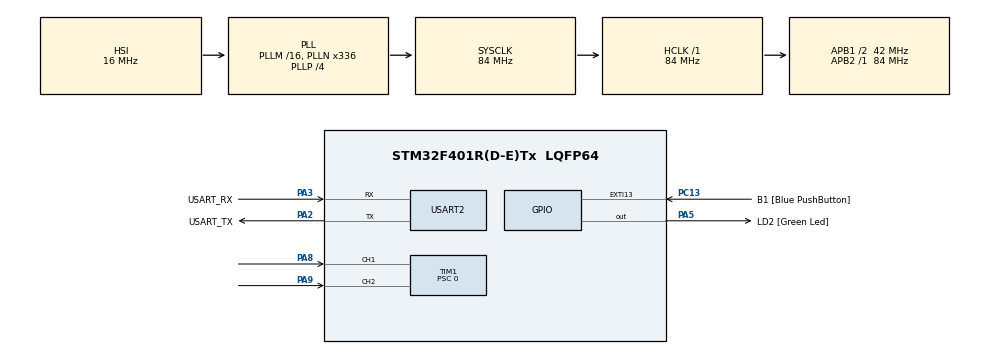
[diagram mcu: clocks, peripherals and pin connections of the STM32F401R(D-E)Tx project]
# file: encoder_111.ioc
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Mcu.Family=STM32F4
Mcu.Name=STM32F401R(D-E)Tx
Mcu.Package=LQFP64
NVIC.PriorityGroup=NVIC_PRIORITYGROUP_0
NVIC.TIM1_BRK_TIM9_IRQn=true\:0\:0\:false\:false\:true\:true\:true
NVIC.TIM1_CC_IRQn=true\:0\:0\:false\:false\:true\:true\:true
NVIC.TIM1_TRG_COM_TIM11_IRQn=true\:0\:0\:false\:false\:true\:true\:true
NVIC.TIM1_UP_TIM10_IRQn=true\:0\:0\:false\:false\:true\:true\:true
PA13.GPIO_Label=TMS
PA13.Mode=Serial_Wire
PA13.Signal=SYS_JTMS-SWDIO
PA14.GPIO_Label=TCK
PA14.Mode=Serial_Wire
PA14.Signal=SYS_JTCK-SWCLK
PA2.GPIO_Label=USART_TX
PA2.GPIO_Mode=GPIO_MODE_AF_PP
PA2.GPIO_PuPd=GPIO_NOPULL
PA2.GPIO_Speed=GPIO_SPEED_FREQ_LOW
PA2.Mode=Asynchronous
PA2.Signal=USART2_TX
PA3.GPIO_Label=USART_RX
PA3.GPIO_Mode=GPIO_MODE_AF_PP
PA3.GPIO_PuPd=GPIO_NOPULL
PA3.GPIO_Speed=GPIO_SPEED_FREQ_LOW
PA3.Mode=Asynchronous
PA3.Signal=USART2_RX
PA5.GPIO_Label=LD2 [Green Led]
PA5.GPIO_Mode=GPIO_MODE_OUTPUT_PP
PA5.GPIO_PuPd=GPIO_NOPULL
PA5.GPIO_Speed=GPIO_SPEED_FREQ_LOW
PA5.Signal=GPIO_Output
PA8.GPIO_PuPd=GPIO_PULLUP
PA8.Signal=S_TIM1_CH1
PA9.GPIO_PuPd=GPIO_PULLUP
PA9.Signal=S_TIM1_CH2
PB3.GPIO_Label=SWO
PB3.Signal=SYS_JTDO-SWO
PC13-ANTI_TAMP.GPIO_Label=B1 [Blue PushButton]
PC13-ANTI_TAMP.GPIO_ModeDefaultEXTI=GPIO_MODE_IT_FALLING
PC13-ANTI_TAMP.GPIO_PuPd=GPIO_NOPULL
PC13-ANTI_TAMP.Signal=GPXTI13
PC14-OSC32_IN.Mode=LSE-External-Oscillator
PC14-OSC32_IN.Signal=RCC_OSC32_IN
PC15-OSC32_OUT.Mode=LSE-External-Oscillator
PC15-OSC32_OUT.Signal=RCC_OSC32_OUT
PH0\ -\ OSC_IN.Mode=HSE-External-Clock-Source
PH0\ -\ OSC_IN.Signal=RCC_OSC_IN
PH1\ -\ OSC_OUT.Mode=HSE-External-Clock-Source
PH1\ -\ OSC_OUT.Signal=RCC_OSC_OUT
ProjectManager.HeapSize=0x200
ProjectManager.StackSize=0x400
ProjectManager.TargetToolchain=STM32CubeIDE
RCC.48MHZClocksFreq_Value=48000000
RCC.AHBFreq_Value=84000000
RCC.APB1CLKDivider=RCC_HCLK_DIV2
RCC.APB1Freq_Value=42000000
RCC.APB1TimFreq_Value=84000000
RCC.APB2Freq_Value=84000000
RCC.APB2TimFreq_Value=84000000
RCC.CortexFreq_Value=84000000
RCC.HCLKFreq_Value=84000000
RCC.HSE_VALUE=8000000
RCC.HSI_VALUE=16000000
RCC.PLLN=336
RCC.PLLP=RCC_PLLP_DIV4
RCC.PLLQ=7
RCC.SYSCLKFreq_VALUE=84000000
RCC.SYSCLKSource=RCC_SYSCLKSOURCE_PLLCLK
RCC.VCOOutputFreq_Value=336000000
SH.S_TIM1_CH1.0=TIM1_CH1,Encoder_Interface
SH.S_TIM1_CH2.0=TIM1_CH2,Encoder_Interface
TIM1.AutoReloadPreload=TIM_AUTORELOAD_PRELOAD_ENABLE
TIM1.EncoderMode=TIM_ENCODERMODE_TI12
TIM1.IC1Filter=5
TIM1.IC1Prescaler=TIM_ICPSC_DIV1
TIM1.IC2Prescaler=TIM_ICPSC_DIV4
TIM1.Period=16
TIM1.Prescaler=0
USART2.VirtualMode=VM_ASYNC
board=NUCLEO-F401RE

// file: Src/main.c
/* USER CODE BEGIN Header */
/**
  ******************************************************************************
  * @file           : main.c
  * @brief          : Main program body
  ******************************************************************************
  * @attention
  *
  * <h2><center>&copy; Copyright (c) 2019 STMicroelectronics.
  * All rights reserved.</center></h2>
  *
  * This software component is licensed by ST under BSD 3-Clause license,
  * the "License"; You may not use this file except in compliance with the
  * License. You may obtain a copy of the License at:
  *                        opensource.org/licenses/BSD-3-Clause
  *
  ******************************************************************************
  */
/* USER CODE END Header */

#include "main.h"
#define PPR (1000-1)
/* USER CODE BEGIN Includes */
#include "math.h"
/* USER CODE END Includes */

TIM_HandleTypeDef htim1;

UART_HandleTypeDef huart2;

uint8_t outC = 0;
void SystemClock_Config(void);
static void MX_GPIO_Init(void);
static void MX_USART2_UART_Init(void);
static void MX_TIM1_Init(void);

/* USER CODE BEGIN 0 */
void USART_SendText2(volatile char * s)
{
	uint8_t counter = 0;
	uint8_t value  = 0;
  while(*s != '\0'){
	  value = *s;
	  counter++;
	 HAL_UART_Transmit(&huart2, (char *) s, 1, 100);
	 *(s++);
  }
  //HAL_UART_Transmit(&huart2, "\n", 1, 1000);
  outC = counter;
}
void USART_SendText(volatile char * s)
{
  while(*s){
    // wait until data register is empty
    HAL_UART_Transmit(&huart2, (char *) s, 1, 100);
    *(s++);
  }
  //HAL_UART_Transmit(&huart2, "\n", 1, 1000);
}
void USART_SendNumber(uint32_t x){
/**
	uint8_t y;
	uint8_t counter = 0;

	while(x > 0){
		y = (x % 10) + 48;
		x = x / 10;
		counter++;
		HAL_UART_Transmit(&huart2, &y, 1, 100);
	}
	USART_SendText2("\r\n");
**/
	uint8_t y[10];
	uint8_t counter = 0;

		while(x > 0){
			y[counter] = (x % 10) + 48;
			x = x / 10;
			//HAL_UART_Transmit(&huart2, &y[counter], 1, 100);
			counter++;
		}

		while(counter>0){
		HAL_UART_Transmit(&huart2, &y[counter-1], 1, 100);
		counter--;
		}
		USART_SendText2("\r\n");
}

/* USER CODE END 0 */

int main(void)
{

  /* MCU Configuration--------------------------------------------------------*/

  /* Reset of all peripherals, Initializes the Flash interface and the Systick. */
  HAL_Init();

  /* Configure the system clock */
  SystemClock_Config();

  /* Initialize all configured peripherals */
  MX_GPIO_Init();
  MX_USART2_UART_Init();
  MX_TIM1_Init();
  /* USER CODE BEGIN 2 */
HAL_TIM_Encoder_Start(&htim1, TIM_CHANNEL_ALL);
  /* USER CODE END 2 */

  /* Infinite loop */
  /* USER CODE BEGIN WHILE */
int i = 0;
  while (1)
  {
    /* USER CODE END WHILE */

    /* USER CODE BEGIN 3 */
	  i = TIM1->CNT;
	  if(TIM1->CNT != 0){
		  HAL_GPIO_WritePin(LD2_GPIO_Port, LD2_Pin, 0);
	  }else{
		  HAL_GPIO_WritePin(LD2_GPIO_Port, LD2_Pin, 1);
	  }
	//  USART_SendText("test\n");
	  //USART_SendNumber(22222);//
	  //HAL_UART_TRANSMIT(&huart2, myTxDatam 13m10)
	  //USART_SendText("1211");
	  HAL_Delay(20);

	   uint8_t a[14] = "Hellow World\r\n";
	  // USART_SendText2(a);
	   //HAL_UART_Transmit(&huart2, &a, 14, 100);
	   i = i >> 2;
	   double k = 360.0/1000.0;
	   double ki = i * k;

	   USART_SendNumber( floor(ki));
  }
  /* USER CODE END 3 */
}

void SystemClock_Config(void)
{
  RCC_OscInitTypeDef RCC_OscInitStruct = {0};
  RCC_ClkInitTypeDef RCC_ClkInitStruct = {0};

  /** Configure the main internal regulator output voltage
  */
  __HAL_RCC_PWR_CLK_ENABLE();
  __HAL_PWR_VOLTAGESCALING_CONFIG(PWR_REGULATOR_VOLTAGE_SCALE2);
  /** Initializes the CPU, AHB and APB busses clocks
  */
  RCC_OscInitStruct.OscillatorType = RCC_OSCILLATORTYPE_HSI;
  RCC_OscInitStruct.HSIState = RCC_HSI_ON;
  RCC_OscInitStruct.HSICalibrationValue = RCC_HSICALIBRATION_DEFAULT;
  RCC_OscInitStruct.PLL.PLLState = RCC_PLL_ON;
  RCC_OscInitStruct.PLL.PLLSource = RCC_PLLSOURCE_HSI;
  RCC_OscInitStruct.PLL.PLLM = 16;
  RCC_OscInitStruct.PLL.PLLN = 336;
  RCC_OscInitStruct.PLL.PLLP = RCC_PLLP_DIV4;
  RCC_OscInitStruct.PLL.PLLQ = 7;
  if (HAL_RCC_OscConfig(&RCC_OscInitStruct) != HAL_OK)
  {
    Error_Handler();
  }
  /** Initializes the CPU, AHB and APB busses clocks
  */
  RCC_ClkInitStruct.ClockType = RCC_CLOCKTYPE_HCLK|RCC_CLOCKTYPE_SYSCLK
                              |RCC_CLOCKTYPE_PCLK1|RCC_CLOCKTYPE_PCLK2;
  RCC_ClkInitStruct.SYSCLKSource = RCC_SYSCLKSOURCE_PLLCLK;
  RCC_ClkInitStruct.AHBCLKDivider = RCC_SYSCLK_DIV1;
  RCC_ClkInitStruct.APB1CLKDivider = RCC_HCLK_DIV2;
  RCC_ClkInitStruct.APB2CLKDivider = RCC_HCLK_DIV1;

  if (HAL_RCC_ClockConfig(&RCC_ClkInitStruct, FLASH_LATENCY_2) != HAL_OK)
  {
    Error_Handler();
  }
}

static void MX_TIM1_Init(void)
{

  TIM_Encoder_InitTypeDef sConfig = {0};
  TIM_MasterConfigTypeDef sMasterConfig = {0};

  htim1.Instance = TIM1;
  htim1.Init.Prescaler = 0;
  htim1.Init.CounterMode = TIM_COUNTERMODE_UP;
  htim1.Init.Period = PPR * 4;
  htim1.Init.ClockDivision = TIM_CLOCKDIVISION_DIV1;
  htim1.Init.RepetitionCounter = 0;
  htim1.Init.AutoReloadPreload = TIM_AUTORELOAD_PRELOAD_ENABLE;
  sConfig.EncoderMode = TIM_ENCODERMODE_TI12;
  sConfig.IC1Polarity = TIM_ICPOLARITY_RISING;
  sConfig.IC1Selection = TIM_ICSELECTION_DIRECTTI;
  sConfig.IC1Prescaler = TIM_ICPSC_DIV1;
  sConfig.IC1Filter = 5;
  sConfig.IC2Polarity = TIM_ICPOLARITY_RISING;
  sConfig.IC2Selection = TIM_ICSELECTION_DIRECTTI;
  sConfig.IC2Prescaler = TIM_ICPSC_DIV4;
  sConfig.IC2Filter = 0;
  if (HAL_TIM_Encoder_Init(&htim1, &sConfig) != HAL_OK)
  {
    Error_Handler();
  }
  sMasterConfig.MasterOutputTrigger = TIM_TRGO_RESET;
  sMasterConfig.MasterSlaveMode = TIM_MASTERSLAVEMODE_DISABLE;
  if (HAL_TIMEx_MasterConfigSynchronization(&htim1, &sMasterConfig) != HAL_OK)
  {
    Error_Handler();
  }

}

static void MX_USART2_UART_Init(void)
{

  huart2.Instance = USART2;
  huart2.Init.BaudRate = 115200;
  huart2.Init.WordLength = UART_WORDLENGTH_8B;
  huart2.Init.StopBits = UART_STOPBITS_1;
  huart2.Init.Parity = UART_PARITY_NONE;
  huart2.Init.Mode = UART_MODE_TX_RX;
  huart2.Init.HwFlowCtl = UART_HWCONTROL_NONE;
  huart2.Init.OverSampling = UART_OVERSAMPLING_16;
  if (HAL_UART_Init(&huart2) != HAL_OK)
  {
    Error_Handler();
  }

}

static void MX_GPIO_Init(void)
{
  GPIO_InitTypeDef GPIO_InitStruct = {0};

  /* GPIO Ports Clock Enable */
  __HAL_RCC_GPIOC_CLK_ENABLE();
  __HAL_RCC_GPIOH_CLK_ENABLE();
  __HAL_RCC_GPIOA_CLK_ENABLE();
  __HAL_RCC_GPIOB_CLK_ENABLE();

  /*Configure GPIO pin Output Level */
  HAL_GPIO_WritePin(LD2_GPIO_Port, LD2_Pin, GPIO_PIN_RESET);

  /*Configure GPIO pin : B1_Pin */
  GPIO_InitStruct.Pin = B1_Pin;
  GPIO_InitStruct.Mode = GPIO_MODE_IT_FALLING;
  GPIO_InitStruct.Pull = GPIO_NOPULL;
  HAL_GPIO_Init(B1_GPIO_Port, &GPIO_InitStruct);

  /*Configure GPIO pin : LD2_Pin */
  GPIO_InitStruct.Pin = LD2_Pin;
  GPIO_InitStruct.Mode = GPIO_MODE_OUTPUT_PP;
  GPIO_InitStruct.Pull = GPIO_NOPULL;
  GPIO_InitStruct.Speed = GPIO_SPEED_FREQ_LOW;
  HAL_GPIO_Init(LD2_GPIO_Port, &GPIO_InitStruct);

}

void Error_Handler(void)
{
}

/************************ (C) COPYRIGHT STMicroelectronics *****END OF FILE****/
